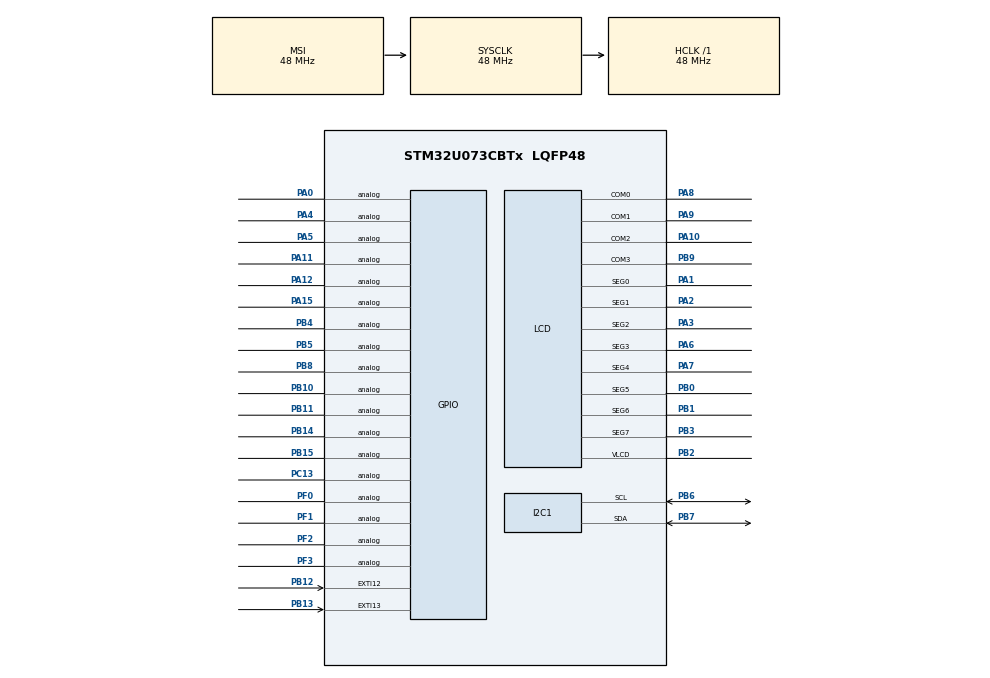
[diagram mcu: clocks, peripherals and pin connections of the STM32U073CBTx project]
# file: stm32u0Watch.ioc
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I2C1.Timing=0x20303E5D
LCD.Bias=LCD_BIAS_1_3
LCD.Contrast=LCD_CONTRASTLEVEL_1
LCD.DeadTime=LCD_DEADTIME_0
LCD.Prescaler=LCD_PRESCALER_16
Mcu.Family=STM32U0
Mcu.Name=STM32U073CBTx
Mcu.Package=LQFP48
NVIC.EXTI4_15_IRQn=true\:0\:0\:false\:false\:true\:true\:true\:true
NVIC.I2C1_IRQn=true\:0\:0\:false\:false\:true\:true\:true\:true
NVIC.LCD_IRQn=true\:0\:0\:false\:false\:true\:true\:false\:true
NVIC.PriorityGroup=NVIC_PRIORITYGROUP_2
NVIC.RTC_TAMP_IRQn=true\:0\:0\:false\:false\:true\:true\:true\:true
PA0.Signal=GPIO_Analog
PA1.Mode=SEG0
PA1.Signal=LCD_SEG0
PA10.Mode=1/4 Duty Cycle
PA10.Signal=LCD_COM2
PA11\ [PA9].Signal=GPIO_Analog
PA12\ [PA10].Signal=GPIO_Analog
PA13\ (SWDIO).Mode=Serial_Wire
PA13\ (SWDIO).Signal=DEBUG_JTMS-SWDIO
PA14\ (SWCLK).Mode=Serial_Wire
PA14\ (SWCLK).Signal=DEBUG_JTCK-SWCLK
PA15.Signal=GPIO_Analog
PA2.Mode=SEG1
PA2.Signal=LCD_SEG1
PA3.Mode=SEG2
PA3.Signal=LCD_SEG2
PA4.Signal=GPIO_Analog
PA5.Signal=GPIO_Analog
PA6.Mode=SEG3
PA6.Signal=LCD_SEG3
PA7.Mode=SEG4
PA7.Signal=LCD_SEG4
PA8.Mode=1/4 Duty Cycle
PA8.Signal=LCD_COM0
PA9.Mode=1/4 Duty Cycle
PA9.Signal=LCD_COM1
PB0.Mode=SEG5
PB0.Signal=LCD_SEG5
PB1.Mode=SEG6
PB1.Signal=LCD_SEG6
PB10.Signal=GPIO_Analog
PB11.Signal=GPIO_Analog
PB12.GPIO_ModeDefaultEXTI=GPIO_MODE_IT_FALLING
PB12.GPIO_PuPd=GPIO_PULLUP
PB12.Signal=GPXTI12
PB13.GPIO_ModeDefaultEXTI=GPIO_MODE_IT_FALLING
PB13.GPIO_PuPd=GPIO_PULLUP
PB13.Signal=GPXTI13
PB14.Signal=GPIO_Analog
PB15.Signal=GPIO_Analog
PB2.Mode=1/4 Duty Cycle
PB2.Signal=LCD_VLCD
PB3.Mode=SEG7
PB3.Signal=LCD_SEG7
PB4.Signal=GPIO_Analog
PB5.Signal=GPIO_Analog
PB6.Mode=I2C
PB6.Signal=I2C1_SCL
PB7.Mode=I2C
PB7.Signal=I2C1_SDA
PB8.Signal=GPIO_Analog
PB9.Mode=1/4 Duty Cycle
PB9.Signal=LCD_COM3
PC13.Signal=GPIO_Analog
PC14-OSC32_IN.Mode=LSE-External-Oscillator
PC14-OSC32_IN.Signal=RCC_OSC32_IN
PC15-OSC32_OUT.Mode=LSE-External-Oscillator
PC15-OSC32_OUT.Signal=RCC_OSC32_OUT
PF0-OSC_IN.Signal=GPIO_Analog
PF1-OSC_OUT.Signal=GPIO_Analog
PF2-NRST.Signal=GPIO_Analog
PF3-BOOT0\ (BOOT0).Signal=GPIO_Analog
ProjectManager.HeapSize=0x200
ProjectManager.StackSize=0x400
ProjectManager.TargetToolchain=CMake
RCC.ADCFreq_Value=48000000
RCC.AHBFreq_Value=48000000
RCC.CortexFreq_Value=48000000
RCC.HCLKFreq_Value=48000000
RCC.HSE_VALUE=4000000
RCC.HSI48_VALUE=48000000
RCC.HSI_VALUE=16000000
RCC.MSIClockRangeVal=RCC_MSIRANGE_11
RCC.MSI_VALUE=48000000
RCC.PLLSourceVirtual=RCC_PLLSOURCE_MSI
RCC.RNGCLockSelection=RCC_RNGCLKSOURCE_HSI48
RCC.RTCClockSelection=RCC_RTCCLKSOURCE_LSE
RCC.SYSCLKFreq_VALUE=48000000
RCC.SYSCLKSource=RCC_SYSCLKSOURCE_MSI
RCC.USBFreq_Value=48000000
RCC.VCOOutputFreq_Value=192000000
RTC.HourFormat=RTC_HOURFORMAT_24
RTC.WakeUpClock-WakeUp=RTC_WAKEUPCLOCK_CK_SPRE_16BITS
VP_PWR_VS_SECSignals.Mode=Security/Privilege
VP_RNG_VS_RNG.Mode=RNG_Activate
VP_RTC_VS_RTC_Activate.Mode=RTC_Enabled
VP_RTC_VS_RTC_WakeUp_intern.Mode=WakeUp
board=custom

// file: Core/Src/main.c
/* USER CODE BEGIN Header */
/**
  ******************************************************************************
  * @file           : main.c
  * @brief          : Main program body
  ******************************************************************************
  * @attention
  *
  * Copyright (c) 2026 STMicroelectronics.
  * All rights reserved.
  *
  * This software is licensed under terms that can be found in the LICENSE file
  * in the root directory of this software component.
  * If no LICENSE file comes with this software, it is provided AS-IS.
  *
  ******************************************************************************
  */
/* USER CODE END Header */
#include "main.h"

/* USER CODE BEGIN Includes */
#include "rv_3028_c7.h"

/* USER CODE END Includes */

I2C_HandleTypeDef hi2c1;

LCD_HandleTypeDef hlcd;

RNG_HandleTypeDef hrng;

RTC_HandleTypeDef hrtc;

/* USER CODE BEGIN PV */
#define DIGIT_BLANK          10   // setNumber() draws nothing for values > 9
#define BTN1_PIN             GPIO_PIN_12  // PB12: random 1..35
#define BTN2_PIN             GPIO_PIN_13  // PB13: random 1..20
#define BTN_DEBOUNCE_MS      30
#define RANDOM_SHOW_SECONDS  10   // how long a random number stays before the clock returns

uint32_t lcd_shadow[16] = {0}; // Fast RAM buffer to track LCD states
/* Colon ("1:00") segment. Spare LCD bits are (6,0) (6,2) (6,4) (6,6);
 * if the wrong dot lights up, try another COLON_BIT from that list. */
#define COLON_REG            6
#define COLON_BIT            0   // (6,2) = dot left of digit 2, so (6,0) should be the colon
bool lcd_colon = false;        // setDisplayValue() adds the colon when true
rv3028_handle_t rtc_handle;        /* RV-3028-C7 RTC handle */
volatile bool rtc_interrupt_fired = true; // Set true initially so it updates on first boot
volatile uint16_t button_flags = 0;       // set by EXTI on PB12/PB13 falling edge
volatile uint8_t  btn_irq_count[2] = {0}; // diagnostic: EXTI hits on PB12 / PB13
#define POWER_TEST 0 // 1 = everything off + STOP2 forever, 2 = MCU in SHUTDOWN (~30 nA): rest = board
#define BUTTONS_ENABLED 1 // 0 = PB12/PB13 analog, no pull-up (exactly like the old 8 uA build)
#define BTN_DIAG 0  // 1 = button test mode (no sleep, live pin view), 0 = normal

uint8_t secondsToFireInt = 2;

void TestIndiviual(){
	// Change these values to map your specific hardware
	uint32_t testRegister = 6; // Try 0, 2, 4, 6
	uint32_t testPinBit = 3;    // Try 0, 1, 2, 3, 4, 5, 6, 7  0 , note 0 starts at 5 and now is 0 2 4 6 of test register

	// This will turn on ONE segment at a time so you can identify it
	HAL_LCD_Write(&hlcd, testRegister, (1UL << testPinBit), (1UL << testPinBit));
	HAL_LCD_UpdateDisplayRequest(&hlcd);
}

void setvalue(uint8_t testRegister, uint8_t testPinBit){
    // ONLY update our fast RAM buffer here. Do NOT write to hardware yet!
    lcd_shadow[testRegister] |= (1UL << testPinBit);
}

void set0(uint8_t pos){
	switch (pos) {
	    case 1:
	    	setvalue(0,0);
	    	setvalue(0,1);
	    	setvalue(2,0);
	    	setvalue(4,0);
	    	setvalue(4,1);
	    	setvalue(6,1);
	        break;
	    case 2:
	    	setvalue(0,2);
	    	setvalue(0,3);
	    	setvalue(2,2);
	    	setvalue(4,2);
	    	setvalue(4,3);
	    	setvalue(6,3);
	        // Handle State 1 (e.g., LOADING)
	        break;
	    case 3:
	        // Handle State 2 (e.g., PLAYING)
	    	setvalue(0,4);
	    	setvalue(0,5);
	    	setvalue(2,4);
	    	setvalue(4,4);
	    	setvalue(4,5);
	    	setvalue(6,5);
	        break;
	    case 4:
	    	setvalue(0,6);
	    	setvalue(0,7);
	    	setvalue(2,6);
	    	setvalue(4,6);
	    	setvalue(4,7);
	    	setvalue(6,7);
	        // Handle State 3 (e.g., PAUSED)
	        break;
	    default:
	        // Handle any other state
	        break;
	}
}

void set1(uint8_t pos){
	switch (pos) {
	    // A "1" is drawn on the RIGHT segments b + c (like 4, 7, 9 use them).
	    // Segment map per digit (pos p, k = 2*(p-1)):
	    //   a=(0,k) b=(0,k+1) f=(2,k) g=(2,k+1) e=(4,k) c=(4,k+1) d=(6,k+1)
	    case 1:
	    	setvalue(0,1);   // b
	    	setvalue(4,1);   // c
	        break;
	    case 2:
	    	setvalue(0,3);
	    	setvalue(4,3);
	        break;
	    case 3:
	    	setvalue(0,5);
	    	setvalue(4,5);
	        break;
	    case 4:
	    	setvalue(0,7);
	    	setvalue(4,7);
	        break;
	    default:
	        break;
	}
}

void set2(uint8_t pos){
	switch (pos) {
	    case 1:
	    	setvalue(0,0);
	    	setvalue(0,1);
	    	setvalue(2,1);
	    	setvalue(4,0);
	    	setvalue(6,1);
	        break;
	    case 2:
	    	setvalue(0,2);
	    	setvalue(0,3);
	    	setvalue(2,3);
	    	setvalue(4,2);
	    	setvalue(6,3);
	        // Handle State 1 (e.g., LOADING)
	        break;
	    case 3:
	        // Handle State 2 (e.g., PLAYING)
	    	setvalue(0,4);
	    	setvalue(0,5);
	    	setvalue(2,5);
	    	setvalue(4,4);
	    	setvalue(6,5);
	        break;
	    case 4:

	    	setvalue(0,6);
	    	setvalue(0,7);
	    	setvalue(2,7);
	    	setvalue(4,6);
	    	setvalue(6,7);
	        // Handle State 3 (e.g., PAUSED)
	        break;
	    default:
	        // Handle any other state
	        break;
	}

}

void set3(uint8_t pos){
	switch (pos) {
	    case 1:
	    	setvalue(0,0);
	    	setvalue(0,1);
	    	setvalue(2,1);
	    	setvalue(4,1);
	    	setvalue(6,1);
	        break;
	    case 2:
	    	setvalue(0,2);
	    	setvalue(0,3);
	    	setvalue(2,3);
	    	setvalue(4,3);
	    	setvalue(6,3);
	        // Handle State 1 (e.g., LOADING)
	        break;
	    case 3:
	    	// Handle State 2 (e.g., PLAYING)
	    	setvalue(0,4);
	    	setvalue(0,5);
	    	setvalue(2,5);
	    	setvalue(4,5);
	    	setvalue(6,5);
	    	break;
	    case 4:

	    	setvalue(0,6);
	    	setvalue(0,7);
	    	setvalue(2,7);
	    	setvalue(4,7);
	    	setvalue(6,7);
	    	// Handle State 3 (e.g., PAUSED)
	        break;
	    default:
	        // Handle any other state
	        break;
	}
}

void set4(uint8_t pos){
	switch (pos) {
	    case 1:
	    	setvalue(2,0);
	    	setvalue(0,1);
	    	setvalue(2,1);
	    	setvalue(4,1);

	        break;
	    case 2:
	    	setvalue(2,2);
	    	setvalue(0,3);
	    	setvalue(2,3);
	    	setvalue(4,3);
	        // Handle State 1 (e.g., LOADING)
	        break;
	    case 3:
	    	// Handle State 2 (e.g., PLAYING)
	    	setvalue(2,4);
	    	setvalue(0,5);
	    	setvalue(2,5);
	    	setvalue(4,5);
	    	break;
	    case 4:

	    	setvalue(2,6);
	    	setvalue(0,7);
	    	setvalue(2,7);
	    	setvalue(4,7);
	    	// Handle State 3 (e.g., PAUSED)
	        break;
	    default:
	        // Handle any other state
	        break;
	}
}

void set5(uint8_t pos){
	switch (pos) {
	    case 1:
	    	setvalue(0,0);
	    	setvalue(2,0);
	    	setvalue(2,1);
	    	setvalue(4,1);
	    	setvalue(6,1);

	    	break;
	    case 2:
	    	setvalue(0,2);
	    	setvalue(2,2);
	    	setvalue(2,3);
	    	setvalue(4,3);
	    	setvalue(6,3);
	    	// Handle State 1 (e.g., LOADING)
	    	break;
	    case 3:
	    	// Handle State 2 (e.g., PLAYING)
	    	setvalue(0,4);
	    	setvalue(2,4);
	    	setvalue(2,5);
	    	setvalue(4,5);
	    	setvalue(6,5);
	    	break;
	    case 4:

	    	setvalue(0,6);
	    	setvalue(2,6);
	    	setvalue(2,7);
	    	setvalue(4,7);
	    	setvalue(6,7);
	    	// Handle State 3 (e.g., PAUSED)
	        break;
	    default:
	        // Handle any other state
	        break;
	}
}

void set6(uint8_t pos){
	switch (pos) {
	    case 1:
	    	setvalue(0,0);
	    	setvalue(2,0);
	    	setvalue(2,1);
	    	setvalue(4,0);
	    	setvalue(4,1);
	    	setvalue(6,1);

	    	break;
	    case 2:
	    	setvalue(0,2);
	    	setvalue(2,2);
	    	setvalue(2,3);
	    	setvalue(4,2);
	    	setvalue(4,3);
	    	setvalue(6,3);
	    	// Handle State 1 (e.g., LOADING)
	    	break;
	    case 3:
	    	// Handle State 2 (e.g., PLAYING)
	    	setvalue(0,4);
	    	setvalue(2,4);
	    	setvalue(2,5);
	    	setvalue(4,4);
	    	setvalue(4,5);
	    	setvalue(6,5);
	    	break;
	    case 4:

	    	setvalue(0,6);
	    	setvalue(2,6);
	    	setvalue(2,7);
	    	setvalue(4,6);
	    	setvalue(4,7);
	    	setvalue(6,7);
	    	// Handle State 3 (e.g., PAUSED)
	    	break;
	    default:
	        // Handle any other state
	        break;
	}
}

void set7(uint8_t pos){
	switch (pos) {
	    case 1:
	    	setvalue(0,0);
	    	setvalue(0,1);
	    	setvalue(4,1);
	        break;
	    case 2:
	    	setvalue(0,2);
	    	setvalue(0,3);
	    	setvalue(4,3);
	        // Handle State 1 (e.g., LOADING)
	        break;
	    case 3:
	        // Handle State 2 (e.g., PLAYING)
	    	setvalue(0,4);
	    	setvalue(0,5);
	    	setvalue(4,5);
	        break;
	    case 4:
	    	setvalue(0,6);
	    	setvalue(0,7);
	    	setvalue(4,7);
	        // Handle State 3 (e.g., PAUSED)
	        break;
	    default:
	        // Handle any other state
	        break;
	}
}

void set8(uint8_t pos){
	switch (pos) {
	    case 1:
	    	setvalue(0,0);
	    	setvalue(0,1);
	    	setvalue(2,0);
	    	setvalue(2,1);
	    	setvalue(4,0);
	    	setvalue(4,1);
	    	setvalue(6,1);
	        break;
	    case 2:
	    	setvalue(0,2);
	    	setvalue(0,3);
	    	setvalue(2,2);
	    	setvalue(2,3);
	    	setvalue(4,2);
	    	setvalue(4,3);
	    	setvalue(6,3);
	        // Handle State 1 (e.g., LOADING)
	        break;
	    case 3:
	        // Handle State 2 (e.g., PLAYING)
	    	setvalue(0,4);
	    	setvalue(0,5);
	    	setvalue(2,4);
	    	setvalue(2,5);
	    	setvalue(4,4);
	    	setvalue(4,5);
	    	setvalue(6,5);
	        break;
	    case 4:
	    	setvalue(0,6);
	    	setvalue(0,7);
	    	setvalue(2,6);
	    	setvalue(2,7);
	    	setvalue(4,6);
	    	setvalue(4,7);
	    	setvalue(6,7);
	        // Handle State 3 (e.g., PAUSED)
	        break;
	    default:
	        // Handle any other state
	        break;
	}
}

void set9(uint8_t pos){
	switch (pos) {
	    case 1:
	    	setvalue(0,0);
	    	setvalue(0,1);
	    	setvalue(2,0);
	    	setvalue(2,1);
	    	setvalue(4,1);
	    	setvalue(6,1);
	        break;
	    case 2:
	    	setvalue(0,2);
	    	setvalue(0,3);
	    	setvalue(2,2);
	    	setvalue(2,3);
	    	setvalue(4,3);
	    	setvalue(6,3);
	        // Handle State 1 (e.g., LOADING)
	        break;
	    case 3:
	        // Handle State 2 (e.g., PLAYING)
	    	setvalue(0,4);
	    	setvalue(0,5);
	    	setvalue(2,4);
	    	setvalue(2,5);
	    	setvalue(4,5);
	    	setvalue(6,5);
	        break;
	    case 4:
	    	setvalue(0,6);
	    	setvalue(0,7);
	    	setvalue(2,6);
	    	setvalue(2,7);
	    	setvalue(4,7);
	    	setvalue(6,7);
	        // Handle State 3 (e.g., PAUSED)
	        break;
	    default:
	        // Handle any other state
	        break;
	}
}

void setNumber(uint8_t number, uint8_t pos){
	switch (number) {
	    case 0:
	        // Handle 0
	    	set0(pos);

	        break;
	    case 1:
	    	set1(pos);
	        // Handle 1
	        break;
	    case 2:
	    	set2(pos);
	        // Handle 2
	        break;
	    case 3:
	        // Handle 3
	    	set3(pos);
	        break;
	    case 4:
	        // Handle 4
	    	set4(pos);
	        break;
	    case 5:
	        // Handle 5
	    	set5(pos);
	        break;
	    case 6:
	        // Handle 6
	    	set6(pos);
	        break;
	    case 7:
	    	set7(pos);
	        // Handle 7
	        break;
	    case 8:
	    	set8(pos);
	        // Handle 8
	        break;
	    case 9:
	        // Handle 9
	    	set9(pos);
	        break;
	    default:
	        // This handles any number that is NOT 0-9
	        break;
	}

}

void setDisplayValue(uint8_t number1, uint8_t number2, uint8_t number3, uint8_t number4) {
    // 1. CRITICAL: Clear the shadow buffer before starting to assemble the new frame
    for(int i = 0; i < 16; i++) {
        lcd_shadow[i] = 0;
    }

    // 2. Assemble the new segments
    setNumber(number1, 1);
    setNumber(number2, 2);
    setNumber(number3, 3);
    setNumber(number4, 4);
    if (lcd_colon) setvalue(COLON_REG, COLON_BIT);

    // 3. Write the assembled registers to the hardware.
    //    HAL mask = bits to KEEP: RAM = (RAM & mask) | data. Mask 0 replaces the
    //    whole register; 0xFFFFFFFF would only OR new segments on top of old ones.
    HAL_LCD_Write(&hlcd, 0, 0x00000000, lcd_shadow[0]);
    HAL_LCD_Write(&hlcd, 2, 0x00000000, lcd_shadow[2]);
    HAL_LCD_Write(&hlcd, 4, 0x00000000, lcd_shadow[4]);
    HAL_LCD_Write(&hlcd, 6, 0x00000000, lcd_shadow[6]);

    // 4. Update the display
    HAL_LCD_UpdateDisplayRequest(&hlcd);
    while(__HAL_LCD_GET_FLAG(&hlcd, LCD_FLAG_UDR) != RESET) {}
}

void clearScreem(){
	HAL_LCD_Clear(&hlcd);
	  // Clear our software shadow buffer to match the blank screen
	  for(int i = 0; i < 16; i++) {
	        lcd_shadow[i] = 0;
	    }

	   // Wait for hardware clear to finish
	   while(__HAL_LCD_GET_FLAG(&hlcd, LCD_FLAG_UDR) != RESET) {}

}

// Helper to poll EEBUSY status
void wait_for_EEBusy_done(void) {
    uint8_t status = 0;
    uint32_t t0 = HAL_GetTick();
    do {   // EEPROM write takes ~10 ms; never spin forever (CPU awake = high current)
        if (rv3028_read_register(&rtc_handle, 0x0E, &status) != HAL_OK) status = 0x80;
    } while ((status & (1 << 7)) && (HAL_GetTick() - t0) < 100U); // STATUS_EEBUSY (bit 7)
}

void save_backup_config(uint8_t bsm_mode) {
    // 1. Enable EEPROM access: Write 0x00 to 0x27 (ensure EERD is 0)
    rv3028_write_register(&rtc_handle, 0x27, 0x00);

    // 2. Set Backup Register (0x37)
    // Read current first, then modify only the BSM bits
    uint8_t reg37;
    rv3028_read_register(&rtc_handle, 0x37, &reg37);
    reg37 &= ~0x0C; // Clear bits 3:2 (assuming BSM is in these bits)
    reg37 |= (bsm_mode << 2);
    rv3028_write_register(&rtc_handle, 0x37, reg37);

    // 3. Trigger EEPROM update: Write 0x11 to 0x27
    rv3028_write_register(&rtc_handle, 0x27, 0x11);

    // 4. Wait for the chip to finish writing
    wait_for_EEBusy_done();
}

/* Shows HH:MM and returns the current seconds (0..59) so the caller can
 * schedule the next wake-up exactly on the next minute change.
 * No clearScreem() here: setDisplayValue() already rebuilds the whole frame,
 * clearing first only adds a visible blank flash and an extra LCD update. */
uint8_t Display_RTC_Time(bool use_12hr_format) {
    rv3028_time_t now;

    // 1. Get time from RTC
    if (rv3028_get_time(&rtc_handle, &now) == HAL_OK) {
        uint8_t hours = now.hours;
        uint8_t minutes = now.minutes;

        // 2. Handle 12-hour format conversion
        if (use_12hr_format) {
            if (hours == 0) hours = 12;         // 00:xx -> 12:xx
            else if (hours > 12) hours -= 12;  // 13:xx -> 01:xx
        }

        // 3. Extract individual digits for display (e.g., 12:34 -> 1, 2, 3, 4)
        uint8_t d1 = hours / 10;
        uint8_t d2 = hours % 10;
        uint8_t d3 = minutes / 10;
        uint8_t d4 = minutes % 10;

        // Blank the leading zero in 12h mode ( " 1:05" instead of "01:05")
        if (use_12hr_format && d1 == 0) d1 = DIGIT_BLANK;

        // 4. Send to display
        lcd_colon = use_12hr_format;   // "1:00" in 12 h mode
        setDisplayValue(d1, d2, d3, d4);
        lcd_colon = false;             // random numbers etc. without colon
        return (now.seconds < 60) ? now.seconds : 0;
    }
    return 0;
}

/* Wake the MCU from STOP2 after 'seconds' (1..65536) using the internal RTC. */
static void schedule_wakeup(uint32_t seconds) {
    if (seconds == 0) seconds = 1;
    HAL_RTCEx_SetWakeUpTimer_IT(&hrtc, seconds - 1, RTC_WAKEUPCLOCK_CK_SPRE_16BITS, 0);
}

/* True random number in [min, max] from the hardware TRNG only.
 * Returns 0 if the TRNG fails (callers must use min >= 1).
 * HSI48 + RNG are powered only for the few hundred microseconds this takes,
 * so the sleep current is unaffected. Range 1 is selected temporarily because
 * HSI48 / RNG are specified for voltage range 1. */
void SystemClock_Config(void);
static uint8_t rng_fail_stage = 0;  // 1 = clock/HSI48, 2 = RNG init, 3 = RNG generate

static uint32_t random_range(uint32_t min, uint32_t max) {
    uint32_t span = max - min + 1U;               // max-min < 2^32-1 assumed
    uint32_t limit = 0xFFFFFFFFU - (0xFFFFFFFFU % span); // reject to avoid modulo bias
    uint32_t r = 0;
    bool ok = false;

    /* The RNG cannot run reliably from a 100 kHz AHB clock (48 MHz kernel clock
     * vs. 100 kHz bus), so for these few ms: range 1, MSI 16 MHz, HSI48 on. */
    HAL_PWREx_ControlVoltageScaling(PWR_REGULATOR_VOLTAGE_SCALE1);
    while (__HAL_PWR_GET_FLAG(PWR_FLAG_VOSF)) {}  // wait for range 1 before speeding up

    RCC_OscInitTypeDef osc = {0};
    osc.OscillatorType      = RCC_OSCILLATORTYPE_MSI | RCC_OSCILLATORTYPE_HSI48;
    osc.MSIState            = RCC_MSI_ON;
    osc.MSICalibrationValue = RCC_MSICALIBRATION_DEFAULT;
    osc.MSIClockRange       = RCC_MSIRANGE_8;     // 16 MHz
    osc.HSI48State          = RCC_HSI48_ON;
    osc.PLL.PLLState        = RCC_PLL_NONE;

    if (HAL_RCC_OscConfig(&osc) != HAL_OK) {
        rng_fail_stage = 1;                       // clock / HSI48 did not start
    } else {
        hrng.Instance = RNG;
        hrng.Init.ClockErrorDetection = RNG_CED_ENABLE;
        if (HAL_RNG_Init(&hrng) != HAL_OK) {      // MspInit: clock src HSI48 + RNG clock on
            rng_fail_stage = 2;
        } else {
            rng_fail_stage = 3;
            for (int tries = 0; tries < 8; tries++) {
                if (HAL_RNG_GenerateRandomNumber(&hrng, &r) != HAL_OK) break;
                if (r < limit) { ok = true; rng_fail_stage = 0; break; }
            }
        }
        HAL_RNG_DeInit(&hrng);                    // MspDeInit: RNG clock off
    }

    __HAL_RCC_HSI48_DISABLE();
    SystemClock_Config();                         // back to MSI 100 kHz, range 2

    if (!ok) return 0;                            // TRNG only: no software fallback

    return min + (r % span);
}

/* Shows 0..9999 right-aligned, leading zeros blanked (last digit always shown). */
static void Display_Number(uint16_t value) {
    uint8_t d[4] = { value / 1000, (value / 100) % 10, (value / 10) % 10, value % 10 };
    for (int i = 0; i < 3 && d[i] == 0; i++) d[i] = DIGIT_BLANK;
    setDisplayValue(d[0], d[1], d[2], d[3]);
}

/* Shows a TRNG result, or "---N" if the TRNG failed (value 0), N = failing step. */
static void Display_Random(uint32_t value) {
    if (value != 0U) { Display_Number((uint16_t)value); return; }
    for (int i = 0; i < 16; i++) lcd_shadow[i] = 0;
    setvalue(2, 1); setvalue(2, 3); setvalue(2, 5);   // g on digits 1-3
    setNumber(rng_fail_stage, 4);                     // failing step on digit 4
    for (int i = 0; i <= 6; i += 2) HAL_LCD_Write(&hlcd, i, 0x00000000, lcd_shadow[i]);
    HAL_LCD_UpdateDisplayRequest(&hlcd);
}

/* Sets the RV-3028 to the build time (__DATE__/__TIME__ = local time of the
 * build PC, here Melbourne AEDT) once per build. A 16-bit stamp of the build
 * time is kept in the RTC's battery-backed user RAM so normal resets / power
 * cycles do NOT rewind the clock; only flashing a new build sets it again. */
#define RTC_SET_OFFSET_S  15   // build -> flash -> boot delay to compensate

static uint8_t two(const char *p) { return (uint8_t)((p[0] == ' ' ? 0 : p[0] - '0') * 10 + (p[1] - '0')); }

static void rtc_set_from_build_time(void) {
    static const char months[] = "JanFebMarAprMayJunJulAugSepOctNovDec";
    const char *d = __DATE__;   // "Nov  7 2026"
    const char *t = __TIME__;   // "13:11:04"

    uint16_t stamp = 0;
    for (const char *c = d; *c; c++) stamp = (uint16_t)(stamp * 31U + (uint8_t)*c);
    for (const char *c = t; *c; c++) stamp = (uint16_t)(stamp * 31U + (uint8_t)*c);

    uint8_t ram[2];
    if (rv3028_read_registers(&rtc_handle, RV3028_REG_USER_RAM1, ram, 2) != HAL_OK) return;
    if (((uint16_t)ram[0] << 8 | ram[1]) == stamp) return;   // this build already set it

    int month = 1;
    for (int i = 0; i < 12; i++) if (d[0] == months[i*3] && d[1] == months[i*3+1] && d[2] == months[i*3+2]) month = i + 1;
    int day = two(d + 4), year = 2000 + two(d + 9);
    int hh = two(t), mm = two(t + 3), ss = two(t + 6) + RTC_SET_OFFSET_S;

    // carry the offset through minutes/hours/day
    static const uint8_t mdays[] = {31,28,31,30,31,30,31,31,30,31,30,31};
    mm += ss / 60; ss %= 60;
    hh += mm / 60; mm %= 60;
    if (hh >= 24) {
        hh -= 24;
        int dim = mdays[month - 1] + (month == 2 && (year % 4) == 0);
        if (++day > dim) { day = 1; if (++month > 12) { month = 1; year++; } }
    }

    // weekday, 1 = Monday .. 7 = Sunday (Sakamoto)
    static const uint8_t k[] = {0,3,2,5,0,3,5,1,4,6,2,4};
    int y = year - (month < 3);
    int wd = (y + y/4 - y/100 + y/400 + k[month - 1] + day) % 7;   // 0 = Sunday
    if (wd == 0) wd = 7;

    rv3028_time_t now = { (uint8_t)ss, (uint8_t)mm, (uint8_t)hh, (uint8_t)wd,
                          (uint8_t)day, (uint8_t)month, (uint8_t)(year - 2000) };
    if (rv3028_set_time(&rtc_handle, &now) == HAL_OK) {
        // Melbourne DST: first Sunday of October 2:00 -> first Sunday of April 3:00.
        // First Sunday of a month = 1 + (7 - weekday_of_the_1st) % 7.
        int wd1 = (wd - 1 - (day - 1) % 7 + 7) % 7 + 1;          // weekday of the 1st, 1=Mon
        int first_sun = 1 + (7 - wd1) % 7;
        bool dst = (month > 10 || month < 4) ||
                   (month == 10 && (day > first_sun || (day == first_sun && hh >= 2))) ||
                   (month == 4  && (day < first_sun || (day == first_sun && hh < 3)));
        uint8_t gp = 0;
        rv3028_read_register(&rtc_handle, RV3028_REG_GPBITS, &gp);
        gp = dst ? (gp | 0x01U) : (gp & ~0x01U);
        rv3028_write_register(&rtc_handle, RV3028_REG_GPBITS, gp & 0x7FU);
        ram[0] = (uint8_t)(stamp >> 8); ram[1] = (uint8_t)stamp;
        rv3028_write_registers(&rtc_handle, RV3028_REG_USER_RAM1, ram, 2);
    }
}

/* ---- Daylight saving (Melbourne: AEST <-> AEDT) --------------------------
 * The DST state lives in the RV-3028 GP bits register (battery backed), bit 0.
 * Holding the PB12 button for DST_HOLD_MS toggles it and shifts the clock 1 h. */
#define DST_HOLD_MS  5000U
#define DST_GPBIT    0x01U

static bool dst_get(void) {
    uint8_t gp = 0;
    rv3028_read_register(&rtc_handle, RV3028_REG_GPBITS, &gp);
    return (gp & DST_GPBIT) != 0U;
}

static void dst_set(bool on) {
    uint8_t gp = 0;
    rv3028_read_register(&rtc_handle, RV3028_REG_GPBITS, &gp);
    gp = on ? (gp | DST_GPBIT) : (gp & ~DST_GPBIT);
    rv3028_write_register(&rtc_handle, RV3028_REG_GPBITS, gp & 0x7FU);
}

/* Shift the RTC by +1 or -1 hour, carrying into date/month/year/weekday. */
static void rtc_shift_hour(int delta) {
    static const uint8_t mdays[] = {31,28,31,30,31,30,31,31,30,31,30,31};
    rv3028_time_t t;
    if (rv3028_get_time(&rtc_handle, &t) != HAL_OK) return;

    int h = (int)t.hours + delta;
    int day = t.date, month = t.month, year = 2000 + t.year, wd = t.weekday;
    if (h >= 24) {
        h -= 24;
        int dim = mdays[month - 1] + (month == 2 && (year % 4) == 0);
        if (++day > dim) { day = 1; if (++month > 12) { month = 1; year++; } }
        if (++wd > 7) wd = 1;
    } else if (h < 0) {
        h += 24;
        if (--day < 1) {
            if (--month < 1) { month = 12; year--; }
            day = mdays[month - 1] + (month == 2 && (year % 4) == 0);
        }
        if (--wd < 1) wd = 7;
    }
    t.hours = (uint8_t)h; t.date = (uint8_t)day; t.month = (uint8_t)month;
    t.year = (uint8_t)(year - 2000); t.weekday = (uint8_t)wd;
    rv3028_set_time(&rtc_handle, &t);
}

/* Toggle daylight saving: on -> clock +1 h, off -> clock -1 h. */
static void dst_toggle(void) {
    bool on = !dst_get();
    rtc_shift_hour(on ? +1 : -1);
    dst_set(on);
}

/* Silence the RV-3028. Its registers are battery backed, so settings from old
 * firmware (e.g. setup_rtc_minute_interrupt) survive: a set TF/UF/AF flag
 * holds the open-drain INT pin LOW forever -> continuous current through the
 * INT pull-up. CLKOUT (factory default ON, 32.768 kHz) also costs current.
 * Register bits per the RV-3028-C7 datasheet. */
static void rtc_quiet(void) {
    uint8_t v;

    // Control 1 (0x0F): stop the countdown timer (TE = bit 2), keep EERD = 0
    if (rv3028_read_register(&rtc_handle, 0x0F, &v) == HAL_OK)
        rv3028_write_register(&rtc_handle, 0x0F, v & ~((1U << 2) | (1U << 3)));

    // Control 2 (0x10): all interrupt enables off (TSE CLKIE UIE TIE AIE EIE),
    // bit 1 = 0 keeps 24 h mode, which the clock code expects
    rv3028_write_register(&rtc_handle, 0x10, 0x00);

    // Status (0x0E): clear CLKF BSF UF TF AF EVF PORF -> releases INT pin
    rv3028_write_register(&rtc_handle, 0x0E, 0x00);

    // CLKOUT (0x35): CLKOE = bit 7. Turn off in RAM and in EEPROM (once),
    // otherwise the RTC's daily EEPROM refresh would turn it back on.
    if (rv3028_read_register(&rtc_handle, 0x35, &v) == HAL_OK && (v & 0x80U)) {
        rv3028_read_register(&rtc_handle, 0x0F, &v);
        rv3028_write_register(&rtc_handle, 0x0F, v | (1U << 3));      // EERD = 1 during access
        wait_for_EEBusy_done();
        rv3028_read_register(&rtc_handle, 0x35, &v);
        rv3028_write_register(&rtc_handle, 0x35, v & ~0x80U);         // CLKOE = 0
        rv3028_write_register(&rtc_handle, 0x27, 0x00);
        rv3028_write_register(&rtc_handle, 0x27, 0x11);               // config RAM -> EEPROM
        wait_for_EEBusy_done();
        rv3028_read_register(&rtc_handle, 0x0F, &v);
        rv3028_write_register(&rtc_handle, 0x0F, v & ~(1U << 3));     // EERD = 0
    }
}

void setup_rtc_minute_interrupt(void) {
    uint8_t reg_val;

    // 1. Stop timer first: Clear TE (bit 3) in Control 1 (0x0F)
    rv3028_read_register(&rtc_handle, 0x0F, &reg_val);
    reg_val &= ~(1 << 3);
    rv3028_write_register(&rtc_handle, 0x0F, reg_val);

    // 2. Clear any existing Timer Flag TF (bit 3) in Status (0x0E)
    rv3028_read_register(&rtc_handle, 0x0E, &reg_val);
    reg_val &= ~(1 << 3);
    rv3028_write_register(&rtc_handle, 0x0E, reg_val);

    // 3. Set Timer Value to 60 (1 Hz clock * 60 = 1 minute)
    rv3028_write_register(&rtc_handle, 0x0A, secondsToFireInt); // Timer Value 0
    rv3028_write_register(&rtc_handle, 0x0B, 0);  // Timer Value 1

    // 4. Enable Timer Interrupt: Set TIE (bit 4) in Control 2 (0x10)
    rv3028_read_register(&rtc_handle, 0x10, &reg_val);
    reg_val |= (1 << 4);
    rv3028_write_register(&rtc_handle, 0x10, reg_val);

    // 5. Start timer: Set TRPT (bit 7 for repeat), TE (bit 3 for enable),
    // and TD to 1Hz (bits 1:0 = 10) in Control 1
    rv3028_read_register(&rtc_handle, 0x0F, &reg_val);
    reg_val |= (1 << 7) | (1 << 3); // Set TRPT and TE
    reg_val &= ~(1 << 0);           // TD0 = 0
    reg_val |= (1 << 1);            // TD1 = 1 (TD = 10 binary is 1Hz)
    rv3028_write_register(&rtc_handle, 0x0F, reg_val);
}

/* USER CODE END PV */

void SystemClock_Config(void);
static void MX_GPIO_Init(void);
static void MX_I2C1_Init(void);
static void MX_LCD_Init(void);
static void MX_RTC_Init(void);
/* USER CODE BEGIN PFP */
void LCD_SetDigit(uint8_t pos, uint8_t value, uint8_t dp);
void LCD_ShowNumber(uint16_t num, uint8_t dpPos);
void Static_Show_1234(void);

/* USER CODE END PFP */

int main(void)
{

  /* MCU Configuration--------------------------------------------------------*/

  /* Reset of all peripherals, Initializes the Flash interface and the Systick. */
  HAL_Init();

  /* Configure the system clock */
  SystemClock_Config();

  /* Initialize all configured peripherals */
  MX_GPIO_Init();
  MX_I2C1_Init();
  MX_LCD_Init();
  MX_RTC_Init();
  /* USER CODE BEGIN 2 */
  rv3028_init(&rtc_handle, &hi2c1);
  rtc_set_from_build_time();   // Melbourne time from the build PC, once per build
  rtc_quiet();                 // release RTC INT pin, CLKOUT off
  // 1. Enable Battery Backup Mode (Level Switchover)
  // This writes to EEPROM, you only strictly need to do this once,
  // but running it on boot is fine as long as you aren't resetting constantly.
  //save_backup_config(3);
  // Clear Timer Flag (TF) in RTC

  //setup_rtc_minute_interrupt();

  // BOR/PVD in sampled (ultra-low-power) mode while in STOP2
  HAL_PWREx_EnableUltraLowPowerMode();

  // A debug session leaves "debug in STOP/STANDBY" enabled until a power-on
  // reset; that keeps clocks running in STOP2 (~100+ uA). Turn it off.
  __HAL_RCC_DBGMCU_CLK_ENABLE();
  HAL_DBGMCU_DisableDBGStopMode();
  HAL_DBGMCU_DisableDBGStandbyMode();
  __HAL_RCC_DBGMCU_CLK_DISABLE();

  clearScreem();

  /* USER CODE END 2 */

  /* Infinite loop */
  /* USER CODE BEGIN WHILE */
#if POWER_TEST
  /* Baseline: LCD, I2C, buttons and RTC wake-up off, MCU in STOP2 forever.
   * Whatever current remains is the MCU floor + the rest of the board. */
  HAL_LCD_DeInit(&hlcd);
  HAL_I2C_DeInit(&hi2c1);
  HAL_RTCEx_DeactivateWakeUpTimer(&hrtc);
  HAL_NVIC_DisableIRQ(EXTI4_15_IRQn);
  GPIO_InitTypeDef g = {0};
  g.Pin = BTN1_PIN | BTN2_PIN; g.Mode = GPIO_MODE_ANALOG; g.Pull = GPIO_NOPULL;
  HAL_GPIO_Init(GPIOB, &g);
  HAL_SuspendTick();
#if POWER_TEST == 2
  // Shutdown: MCU core, regulator, RAM all off (only a reset/power cycle exits).
  // Any current still measured is NOT the MCU firmware.
  PWR->SCR = PWR_SCR_CWUF;   // clear wake-up pin flags
  HAL_PWR_EnterSHUTDOWNMode();
#endif
  while (1) HAL_PWREx_EnterSTOP2Mode(PWR_STOPENTRY_WFI);
#endif
#if BTN_DIAG
  /* Button test: digit1 = PB12 interrupt count, digit2 = PB13 interrupt count,
   * digit3 = PB12 level, digit4 = PB13 level (1 = released, 0 = pressed). */
  while (1) {
      uint8_t l12 = HAL_GPIO_ReadPin(GPIOB, BTN1_PIN) == GPIO_PIN_SET;
      uint8_t l13 = HAL_GPIO_ReadPin(GPIOB, BTN2_PIN) == GPIO_PIN_SET;
      setDisplayValue(btn_irq_count[0] % 10, btn_irq_count[1] % 10, l12, l13);
      HAL_Delay(50);
  }
#endif
  while (1)
  {
    /* USER CODE END WHILE */

    /* USER CODE BEGIN 3 */

	  if (rtc_interrupt_fired) {
	            rtc_interrupt_fired = false;

	            // Show the time, then sleep until exactly the next minute change
	            // (fixed 60 s from boot would lag the real minute by up to 59 s).
	            uint8_t sec = Display_RTC_Time(true);
	            schedule_wakeup(60U - sec);
	        }

	  if (button_flags) {
	            uint16_t flags = button_flags;
	            button_flags = 0;

	            // Act on the falling edge itself. (Requiring the pin to still be
	            // low after the debounce delay dropped quick taps: wake-up from
	            // STOP2 + clock setup at 100 kHz already eats several ms.)
	            if (flags & BTN1_PIN)      Display_Random(random_range(1, 35));
	            else if (flags & BTN2_PIN) Display_Random(random_range(1, 20));

	            if (flags & (BTN1_PIN | BTN2_PIN)) {
	                // Clock comes back automatically after RANDOM_SHOW_SECONDS
	                schedule_wakeup(RANDOM_SHOW_SECONDS);
	                // Debounce: ignore contact bounce on press and release
	                uint32_t pressed_at = HAL_GetTick();
	                bool dst_done = false;
	                HAL_Delay(BTN_DEBOUNCE_MS);
	                // Wait for release of the pressed button only, max 10 s, so a
	                // stuck/shorted button can never keep the MCU awake.
	                while ((((flags & BTN1_PIN) && HAL_GPIO_ReadPin(GPIOB, BTN1_PIN) == GPIO_PIN_RESET) ||
	                        ((flags & BTN2_PIN) && HAL_GPIO_ReadPin(GPIOB, BTN2_PIN) == GPIO_PIN_RESET)) &&
	                       (HAL_GetTick() - pressed_at) < 10000U) {
	                    // Hold PB12 for 5 s -> toggle daylight saving, show new time
	                    if (!dst_done && (flags & BTN1_PIN) &&
	                        HAL_GPIO_ReadPin(GPIOB, BTN1_PIN) == GPIO_PIN_RESET &&
	                        (HAL_GetTick() - pressed_at) >= DST_HOLD_MS) {
	                        dst_toggle();
	                        Display_RTC_Time(true);
	                        dst_done = true;
	                    }
	                }
	                HAL_Delay(BTN_DEBOUNCE_MS);
	                button_flags = 0;
	                if (dst_done) rtc_interrupt_fired = true;   // redraw + resync to minute
	            }
	        }

	        // ==========================================
	        // Deep Sleep (STOP Mode) Sequence
	        // ==========================================
	        // IRQs masked so a button/RTC event arriving right here is not lost:
	        // WFI still wakes on a pending interrupt, it's serviced after __enable_irq().
	        // SysTick must be stopped BEFORE masking IRQs and any already-pending
	        // tick cleared: a pending SysTick makes WFI return at once, so the MCU
	        // never reached STOP2 and looped awake (~120 uA instead of ~4 uA).
	        HAL_SuspendTick();
	        __disable_irq();
	        SCB->ICSR = SCB_ICSR_PENDSTCLR_Msk;
	        if (!button_flags && !rtc_interrupt_fired) {
	            // Enter STOP mode. Internal RTC or a button (EXTI) wakes the MCU.
	            HAL_PWREx_EnterSTOP2Mode(PWR_STOPENTRY_WFI);

	            // ---> MCU WAKES UP HERE <---
	            SystemClock_Config();
	        }
	        HAL_ResumeTick();
	        __enable_irq();

  }
  /* USER CODE END 3 */
}

void SystemClock_Config(void)
{
  RCC_OscInitTypeDef RCC_OscInitStruct = {0};
  RCC_ClkInitTypeDef RCC_ClkInitStruct = {0};

  /** Configure the main internal regulator output voltage
  */
  HAL_PWREx_ControlVoltageScaling(PWR_REGULATOR_VOLTAGE_SCALE2);

  /** Configure LSE Drive Capability
  */
  HAL_PWR_EnableBkUpAccess();
  __HAL_RCC_LSEDRIVE_CONFIG(RCC_LSEDRIVE_LOW);

  /** Initializes the RCC Oscillators according to the specified parameters
  * in the RCC_OscInitTypeDef structure.
  */
  RCC_OscInitStruct.OscillatorType = RCC_OSCILLATORTYPE_LSE|RCC_OSCILLATORTYPE_MSI;
  RCC_OscInitStruct.LSEState = RCC_LSE_ON;
  RCC_OscInitStruct.MSIState = RCC_MSI_ON;
  RCC_OscInitStruct.MSICalibrationValue = RCC_MSICALIBRATION_DEFAULT;
  RCC_OscInitStruct.MSIClockRange = RCC_MSIRANGE_0;
  RCC_OscInitStruct.PLL.PLLState = RCC_PLL_NONE;
  if (HAL_RCC_OscConfig(&RCC_OscInitStruct) != HAL_OK)
  {
    Error_Handler();
  }

  /** Initializes the CPU, AHB and APB buses clocks
  */
  RCC_ClkInitStruct.ClockType = RCC_CLOCKTYPE_HCLK|RCC_CLOCKTYPE_SYSCLK
                              |RCC_CLOCKTYPE_PCLK1;
  RCC_ClkInitStruct.SYSCLKSource = RCC_SYSCLKSOURCE_MSI;
  RCC_ClkInitStruct.AHBCLKDivider = RCC_SYSCLK_DIV1;
  RCC_ClkInitStruct.APB1CLKDivider = RCC_HCLK_DIV1;

  if (HAL_RCC_ClockConfig(&RCC_ClkInitStruct, FLASH_LATENCY_0) != HAL_OK)
  {
    Error_Handler();
  }
}

static void MX_I2C1_Init(void)
{

  hi2c1.Instance = I2C1;
  hi2c1.Init.Timing = 0x00000000;
  hi2c1.Init.OwnAddress1 = 0;
  hi2c1.Init.AddressingMode = I2C_ADDRESSINGMODE_7BIT;
  hi2c1.Init.DualAddressMode = I2C_DUALADDRESS_DISABLE;
  hi2c1.Init.OwnAddress2 = 0;
  hi2c1.Init.OwnAddress2Masks = I2C_OA2_NOMASK;
  hi2c1.Init.GeneralCallMode = I2C_GENERALCALL_DISABLE;
  hi2c1.Init.NoStretchMode = I2C_NOSTRETCH_DISABLE;
  if (HAL_I2C_Init(&hi2c1) != HAL_OK)
  {
    Error_Handler();
  }

  /** Configure Analogue filter
  */
  if (HAL_I2CEx_ConfigAnalogFilter(&hi2c1, I2C_ANALOGFILTER_ENABLE) != HAL_OK)
  {
    Error_Handler();
  }

  /** Configure Digital filter
  */
  if (HAL_I2CEx_ConfigDigitalFilter(&hi2c1, 0) != HAL_OK)
  {
    Error_Handler();
  }

}

static void MX_LCD_Init(void)
{

  hlcd.Instance = LCD;
  hlcd.Init.Prescaler = LCD_PRESCALER_16;
  hlcd.Init.Divider = LCD_DIVIDER_16;
  hlcd.Init.Duty = LCD_DUTY_1_4;
  hlcd.Init.Bias = LCD_BIAS_1_3;
  hlcd.Init.VoltageSource = LCD_VOLTAGESOURCE_INTERNAL;
  hlcd.Init.Contrast = LCD_CONTRASTLEVEL_1;
  hlcd.Init.DeadTime = LCD_DEADTIME_0;
  hlcd.Init.PulseOnDuration = LCD_PULSEONDURATION_0;
  hlcd.Init.BlinkMode = LCD_BLINKMODE_OFF;
  hlcd.Init.BlinkFrequency = LCD_BLINKFREQUENCY_DIV8;
  hlcd.Init.MuxSegment = LCD_MUXSEGMENT_DISABLE;
  if (HAL_LCD_Init(&hlcd) != HAL_OK)
  {
    Error_Handler();
  }

}

static void MX_RTC_Init(void)
{

  /** Initialize RTC Only
  */
  hrtc.Instance = RTC;
  hrtc.Init.HourFormat = RTC_HOURFORMAT_24;
  hrtc.Init.AsynchPrediv = 127;
  hrtc.Init.SynchPrediv = 255;
  hrtc.Init.OutPut = RTC_OUTPUT_DISABLE;
  hrtc.Init.OutPutRemap = RTC_OUTPUT_REMAP_NONE;
  hrtc.Init.OutPutPolarity = RTC_OUTPUT_POLARITY_HIGH;
  hrtc.Init.OutPutType = RTC_OUTPUT_TYPE_OPENDRAIN;
  hrtc.Init.OutPutPullUp = RTC_OUTPUT_PULLUP_NONE;
  hrtc.Init.BinMode = RTC_BINARY_NONE;
  if (HAL_RTC_Init(&hrtc) != HAL_OK)
  {
    Error_Handler();
  }

  /** Enable the WakeUp
  */
  if (HAL_RTCEx_SetWakeUpTimer_IT(&hrtc, 0, RTC_WAKEUPCLOCK_CK_SPRE_16BITS, 0) != HAL_OK)
  {
    Error_Handler();
  }

}

static void MX_GPIO_Init(void)
{
  GPIO_InitTypeDef GPIO_InitStruct = {0};

  /* GPIO Ports Clock Enable */
  __HAL_RCC_GPIOC_CLK_ENABLE();
  __HAL_RCC_GPIOF_CLK_ENABLE();
  __HAL_RCC_GPIOA_CLK_ENABLE();
  __HAL_RCC_GPIOB_CLK_ENABLE();

  /*Configure GPIO pin : PC13 */
  GPIO_InitStruct.Pin = GPIO_PIN_13;
  GPIO_InitStruct.Mode = GPIO_MODE_ANALOG;
  GPIO_InitStruct.Pull = GPIO_NOPULL;
  HAL_GPIO_Init(GPIOC, &GPIO_InitStruct);

  /*Configure GPIO pins : PF0 PF1 PF2 PF3 */
  GPIO_InitStruct.Pin = GPIO_PIN_0|GPIO_PIN_1|GPIO_PIN_2|GPIO_PIN_3;
  GPIO_InitStruct.Mode = GPIO_MODE_ANALOG;
  GPIO_InitStruct.Pull = GPIO_NOPULL;
  HAL_GPIO_Init(GPIOF, &GPIO_InitStruct);

  /*Configure GPIO pins : PA0 PA4 PA5 PA11
                           PA12 PA15 */
  GPIO_InitStruct.Pin = GPIO_PIN_0|GPIO_PIN_4|GPIO_PIN_5|GPIO_PIN_11
                          |GPIO_PIN_12|GPIO_PIN_15;
  GPIO_InitStruct.Mode = GPIO_MODE_ANALOG;
  GPIO_InitStruct.Pull = GPIO_NOPULL;
  HAL_GPIO_Init(GPIOA, &GPIO_InitStruct);

  /*Configure GPIO pins : PB10 PB11 PB14 PB15
                           PB4 PB5 PB8 */
  GPIO_InitStruct.Pin = GPIO_PIN_10|GPIO_PIN_11|GPIO_PIN_14|GPIO_PIN_15
                          |GPIO_PIN_4|GPIO_PIN_5|GPIO_PIN_8;
  GPIO_InitStruct.Mode = GPIO_MODE_ANALOG;
  GPIO_InitStruct.Pull = GPIO_NOPULL;
  HAL_GPIO_Init(GPIOB, &GPIO_InitStruct);

  /*Configure GPIO pins : PB12 PB13 (buttons to GND, wake from STOP2) */
  GPIO_InitStruct.Pin = GPIO_PIN_12|GPIO_PIN_13;
#if BUTTONS_ENABLED
  GPIO_InitStruct.Mode = GPIO_MODE_IT_FALLING;
  GPIO_InitStruct.Pull = GPIO_PULLUP;
#else
  GPIO_InitStruct.Mode = GPIO_MODE_ANALOG;
  GPIO_InitStruct.Pull = GPIO_NOPULL;
#endif
  HAL_GPIO_Init(GPIOB, &GPIO_InitStruct);

  /* EXTI interrupt init*/
  HAL_NVIC_SetPriority(EXTI4_15_IRQn, 0, 0);
  HAL_NVIC_EnableIRQ(EXTI4_15_IRQn);

}

/* USER CODE BEGIN 4 */

void HAL_RTCEx_WakeUpTimerEventCallback(RTC_HandleTypeDef *hrtc)
{
    // This fires when the internal STM32 RTC wakes the MCU from STOP mode
    rtc_interrupt_fired = true;
}

void HAL_GPIO_EXTI_Falling_Callback(uint16_t GPIO_Pin)
{
    if (GPIO_Pin == BTN1_PIN || GPIO_Pin == BTN2_PIN) {
        button_flags |= GPIO_Pin;
        btn_irq_count[GPIO_Pin == BTN2_PIN]++;
    }
}
/* USER CODE END 4 */

void Error_Handler(void)
{
  __disable_irq();
  while (1)
  {
  }
}
